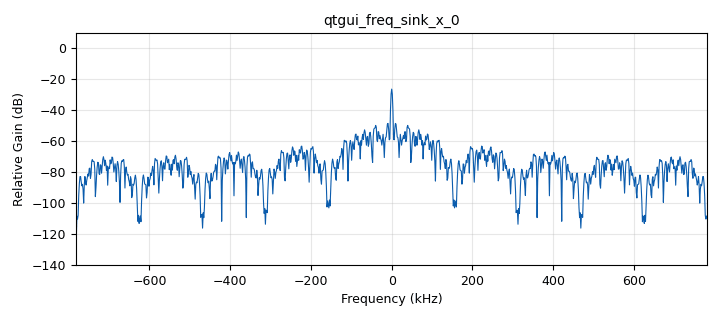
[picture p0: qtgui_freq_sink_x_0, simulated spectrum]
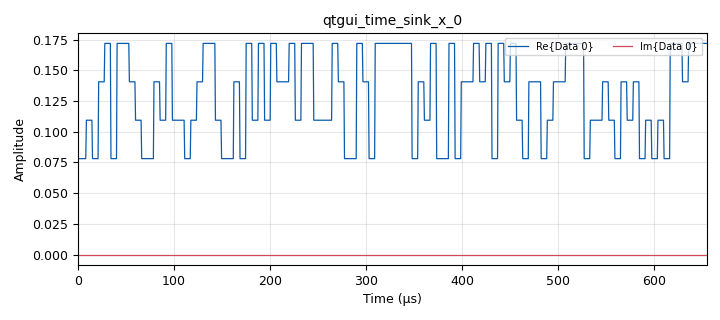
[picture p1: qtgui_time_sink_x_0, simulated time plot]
options:
  parameters:
    author: David_Astro_Daniel_Orduz
    generate_options: qt_gui
    id: Practica2_ParteB_Punto1
    output_language: python
    title: Not titled yet
  states: {}

blocks:
- name: Ac
  id: variable_qtgui_range
  parameters:
    label: Amplitudportadora
    start: '0'
    step: '1e-3'
    stop: '1'
    value: '125e-3'
  states: {}
- name: Am
  id: variable_qtgui_range
  parameters:
    label: Amplitud del mensaje
    start: '0'
    step: '100e-3'
    stop: '4'
    value: '1'
  states: {}
- name: B
  id: variable_qtgui_range
  parameters:
    label: Cambio de banda
    start: '-1'
    step: '2'
    stop: '1'
    value: '1'
  states: {}
- name: GTX
  id: variable_qtgui_range
  parameters:
    label: Ganancia_transmisor
    start: '0'
    step: '1'
    stop: '30'
    value: '0'
  states: {}
- name: b
  id: variable_qtgui_range
  parameters:
    label: '# muestras por simbolo'
    rangeType: int
    start: '1'
    step: '1'
    stop: '20'
    value: '10'
  states: {}
- name: fc
  id: variable_qtgui_range
  parameters:
    label: Frecuencia portadora
    start: 50e6
    step: 1e6
    stop: 2.2e9
    value: 50e6
  states: {}
- name: fm
  id: variable_qtgui_range
  parameters:
    label: Frecuencia del mensaje
    start: '300'
    step: '100'
    stop: samp_rate/4
    value: '1000'
  states: {}
- name: ka
  id: variable_qtgui_range
  parameters:
    label: Habilita portadora
    start: '0'
    step: '0.01'
    stop: '1'
    value: '1'
  states: {}
- name: n
  id: variable
  parameters:
    value: '2'
  states: {}
- name: samp_rate
  id: variable
  parameters:
    value: 1.5625e6
  states: {}
- name: analog_random_source_x_0
  id: analog_random_source_x
  parameters:
    max: int(math.pow(2,n))
    min: '0'
    num_samps: '1000'
    repeat: 'True'
    type: byte
  states: {}
- name: analog_sig_source_x_0
  id: analog_sig_source_x
  parameters:
    amp: '1'
    freq: '1000'
    offset: '0'
    phase: '0'
    samp_rate: samp_rate
    type: float
    waveform: analog.GR_SIN_WAVE
  states: {state: disabled}
- name: blocks_add_const_vxx_0
  id: blocks_add_const_vxx
  parameters:
    const: '1'
    type: float
  states: {}
- name: blocks_add_const_vxx_1
  id: blocks_add_const_vxx
  parameters:
    const: '-(math.pow(2,n)-1)/2'
    type: float
  states: {}
- name: blocks_float_to_complex_0
  id: blocks_float_to_complex
  parameters: {}
  states: {}
- name: blocks_multiply_const_vxx_0
  id: blocks_multiply_const_vxx
  parameters:
    const: ka
    type: float
  states: {}
- name: blocks_multiply_const_vxx_1
  id: blocks_multiply_const_vxx
  parameters:
    const: Ac
    type: complex
  states: {}
- name: blocks_multiply_const_vxx_2
  id: blocks_multiply_const_vxx
  parameters:
    const: 1/math.pow(2,n)
    type: float
  states: {}
- name: blocks_null_source_0
  id: blocks_null_source
  parameters:
    type: float
  states: {}
- name: blocks_repeat_0
  id: blocks_repeat
  parameters:
    interp: b
    type: float
  states: {}
- name: blocks_throttle2_1
  id: blocks_throttle2
  parameters:
    samples_per_second: samp_rate
    type: float
  states: {}
- name: blocks_uchar_to_float_0
  id: blocks_uchar_to_float
  parameters: {}
  states: {}
- name: import_0
  id: import
  parameters:
    imports: import math
  states: {}
- name: qtgui_freq_sink_x_0
  id: qtgui_freq_sink_x
  parameters:
    bw: samp_rate
    fc: '0'
    fftsize: '1024'
    type: complex
  states: {}
- name: qtgui_time_sink_x_0
  id: qtgui_time_sink_x
  parameters:
    autoscale: 'True'
    size: '1024'
    srate: samp_rate
    type: complex
  states: {}
- name: uhd_usrp_sink_0
  id: uhd_usrp_sink
  parameters:
    ant0: '"TX/RX"'
    center_freq0: fc
    gain0: GTX
    samp_rate: samp_rate
    sync: pc_clock
    type: fc32
  states: {}
- name: virtual_sink_0
  id: virtual_sink
  parameters:
    stream_id: m_t
  states: {}
- name: virtual_source_0
  id: virtual_source
  parameters:
    stream_id: m_t
  states: {}
- name: virtual_source_0_0
  id: virtual_source
  parameters:
    stream_id: m_t
  states: {state: disabled}
- name: virtual_source_0_1
  id: virtual_source
  parameters:
    stream_id: m_t
  states: {state: disabled}
- name: virtual_source_0_2
  id: virtual_source
  parameters:
    stream_id: m_t
  states: {state: disabled}
- name: virtual_source_1
  id: virtual_source
  parameters:
    stream_id: m_t
  states: {}

connections:
- [analog_random_source_x_0, '0', blocks_uchar_to_float_0, '0']
- [analog_sig_source_x_0, '0', blocks_multiply_const_vxx_0, '0']
- [blocks_add_const_vxx_0, '0', blocks_float_to_complex_0, '0']
- [blocks_add_const_vxx_1, '0', blocks_multiply_const_vxx_2, '0']
- [blocks_float_to_complex_0, '0', blocks_multiply_const_vxx_1, '0']
- [blocks_multiply_const_vxx_0, '0', blocks_add_const_vxx_0, '0']
- [blocks_multiply_const_vxx_1, '0', qtgui_freq_sink_x_0, '0']
- [blocks_multiply_const_vxx_1, '0', qtgui_time_sink_x_0, '0']
- [blocks_multiply_const_vxx_1, '0', uhd_usrp_sink_0, '0']
- [blocks_multiply_const_vxx_2, '0', virtual_sink_0, '0']
- [blocks_null_source_0, '0', blocks_float_to_complex_0, '1']
- [blocks_repeat_0, '0', blocks_add_const_vxx_1, '0']
- [blocks_uchar_to_float_0, '0', blocks_repeat_0, '0']
- [virtual_source_0, '0', blocks_throttle2_1, '0']
- [virtual_source_1, '0', blocks_multiply_const_vxx_0, '0']

metadata:
  file_format: 1
  grc_version: v3.11.0.0git-810-g1ecb8565
